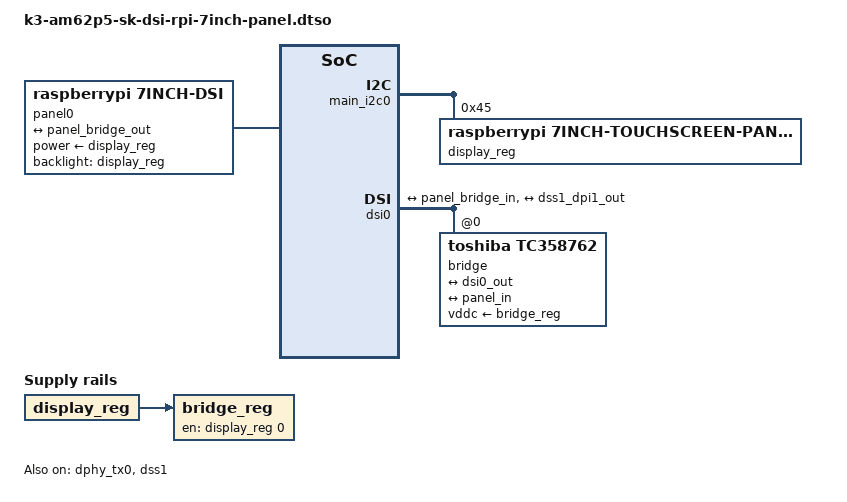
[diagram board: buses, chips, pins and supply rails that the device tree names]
// SPDX-License-Identifier: GPL-2.0-or-later OR MIT
/**
 * DT Overlay for RPi 7inch touchscreen panel interfaced with DSI on
 * AM62P5-SK EVM.
 *
 * RPi DSI Panel: https://www.raspberrypi.com/products/raspberry-pi-touch-display/
 *
 * Copyright (C) 2024 Texas Instruments Incorporated - https://www.ti.com/
 */

/dts-v1/;
/plugin/;

#include <dt-bindings/gpio/gpio.h>
#include <dt-bindings/interrupt-controller/irq.h>

#include "k3-pinctrl.h"

&{/} {
	panel0 {
		compatible = "raspberrypi,7inch-dsi", "simple-panel";
		backlight = <&display_reg>;
		power-supply = <&display_reg>;

		port {

			panel_in: endpoint {
				remote-endpoint = <&panel_bridge_out>;
			};
		};
	};

	bridge_reg: bridge-regulator {
		compatible = "regulator-fixed";
		regulator-name = "bridge-reg";
		gpio = <&display_reg 0 0>;
		vin-supply = <&display_reg>;
		enable-active-high;
	};
};

&dphy_tx0 {
	status = "okay";
};

&main_i2c0 {
	#address-cells = <1>;
	#size-cells = <0>;

	display_reg: regulator@45 {
		compatible = "raspberrypi,7inch-touchscreen-panel-regulator";
		reg = <0x45>;
		gpio-controller;
		#gpio-cells = <2>;
	};
};

&dss1 {
	status = "okay";
};

&dss1_ports {
	#address-cells = <1>;
	#size-cells = <0>;

	/* DSS1-VP1: DSI Output */
	port@1 {
		reg = <1>;

		dss1_dpi1_out: endpoint {
			remote-endpoint = <&dsi0_in>;
		};
	};
};

&dsi0 {
	status = "okay";
	#address-cells = <1>;
	#size-cells = <0>;

	ports {
		#address-cells = <1>;
		#size-cells = <0>;

		port@0 {
			reg = <0>;

			dsi0_out: endpoint {
				remote-endpoint = <&panel_bridge_in>;
			};
		};

		port@1 {
			reg = <1>;

			dsi0_in: endpoint {
				remote-endpoint = <&dss1_dpi1_out>;
			};
		};
	};

	bridge@0 {
		status = "okay";
		compatible = "toshiba,tc358762";
		reg = <0>;
		vddc-supply = <&bridge_reg>;

		ports {
			#address-cells = <1>;
			#size-cells = <0>;

			port@0 {
				reg = <0>;

				panel_bridge_in: endpoint {
					remote-endpoint = <&dsi0_out>;
				};
			};

			port@1 {
				reg = <1>;

				panel_bridge_out: endpoint {
					remote-endpoint = <&panel_in>;
				};
			};
		};
	};
};
